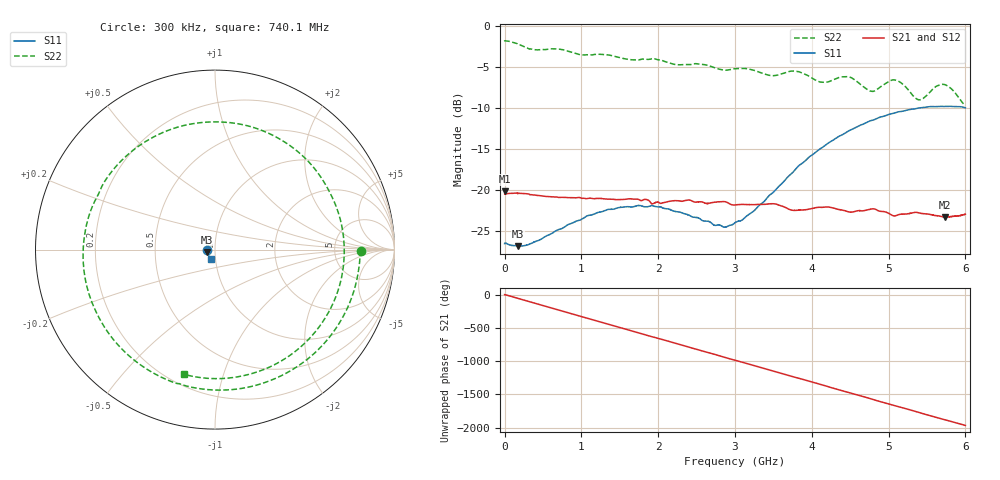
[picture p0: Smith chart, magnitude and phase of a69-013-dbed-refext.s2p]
!  3/18/2021  18:17:10
! Ref Plane: 13.288 mm
# MHZ S MA R  50
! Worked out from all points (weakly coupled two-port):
!   10001 points, 300 kHz to 6 GHz, reference 50 ohm
!   highest |S21| = -20.19 dB at 300 kHz (marker M1); lowest = -23.3 dB at 5.736 GHz (marker M2)
!   lowest |S11| = -26.9 dB at 169.5 MHz (marker M3), VSWR 1.09, Z = 45.9 - j1.28 ohm
!   |S11| at or under -10 dB: start of sweep to 5.424 GHz; 5.424151 GHz to 5.424915 GHz (764.2 kHz wide, 0.0141 % of centre); 5.995431 GHz to end of sweep
!   |S22| runs from -9.7 to -1.8 dB; largest |S21 - S12| = 0.0028
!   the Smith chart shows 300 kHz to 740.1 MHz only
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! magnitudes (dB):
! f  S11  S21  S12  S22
! 300 kHz  -26.6  -20.2  -20.4  -1.8
! 169.5 MHz  -26.9  -20.5  -20.4  -2.2
! 333.3 MHz  -26.6  -20.6  -20.6  -2.8
! 711.3 MHz  -24.8  -20.9  -20.9  -2.9
! 1 GHz  -23.6  -21.0  -21.0  -3.6
! 1.492 GHz  -22.2  -21.2  -21.2  -3.9
! 2.001 GHz  -22.1  -21.5  -21.5  -4.2
! 2.739 GHz  -24.4  -21.5  -21.5  -5.1
! 3 GHz  -24.0  -21.9  -21.9  -5.2
! 3.238 GHz  -22.6  -21.8  -21.8  -5.4
! 3.485 GHz  -20.4  -21.7  -21.7  -6.1
! 3.795 GHz  -17.4  -22.5  -22.5  -5.5
! 4 GHz  -15.8  -22.3  -22.3  -6.4
! 4.165 GHz  -14.7  -22.1  -22.1  -6.9
! 4.485 GHz  -12.8  -22.7  -22.7  -6.2
! 4.783 GHz  -11.5  -22.3  -22.3  -8.0
! 5 GHz  -10.8  -22.9  -22.9  -6.8
! 5.14 GHz  -10.5  -23.0  -23.0  -6.8
! 5.399 GHz  -10.0  -22.8  -22.8  -9.0
! 5.621 GHz  -9.9  -23.2  -23.1  -7.4
! 5.736 GHz  -9.9  -23.3  -23.3  -7.2
! 6 GHz  -10.0  -23.0  -22.9  -9.7
